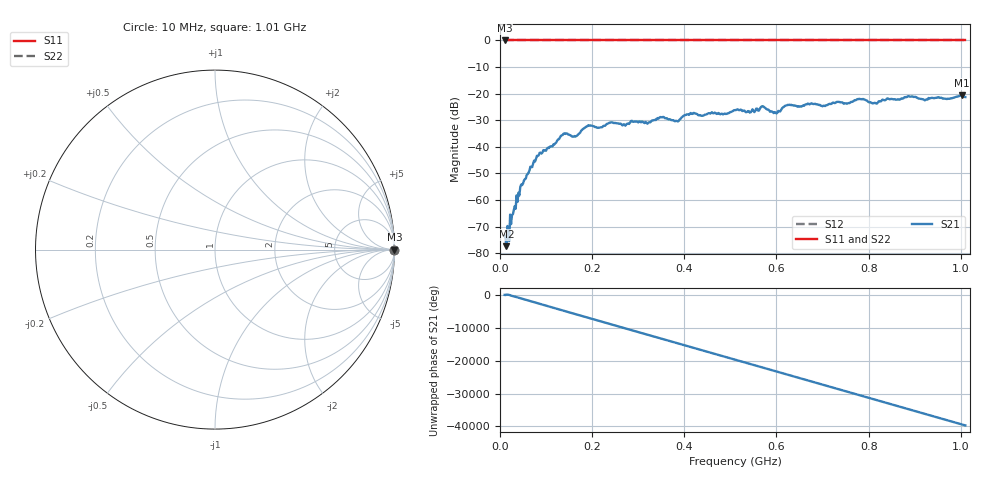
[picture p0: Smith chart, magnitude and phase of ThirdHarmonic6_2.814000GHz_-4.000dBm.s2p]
! 8/17/2025 7:24:21 AM
! C:\ANRITSUVNA\TEMP\TEMP.S2P
! CHANNEL.1
! TR.MEASUREMENT
! RAW.DATA
! RF.CORRECTION.OFF
! AVERAGING.OFF
! IF.BANDWIDTH: 5KHZ
! SWEEPTYPE:  FREQ.SWEEP(Linear)
! Reference Plane Port Info
! PORT:  PORT1  PORT2
! DISTANCE:  0  m  0  m
! TIME:  0  s  0  s
! PHASE.OFFSET:  0  deg.  0  deg.
! LOSS:  0  dB  0  dB
! REF.LOSS:  0  dB  0  dB
! REF.FREQ:  0  Hz  0  Hz
! Power Info
! POWER:  -20  dBm  -20  dBm
! EFF.POWER:  -20  dBm  -20  dBm
! SOURCE.ATTEN:  0  dB  0  dB
! TEST.ATTEN:  0  dB  0  dB
# GHZ S RI R 50.0
! FREQ.GHZ  S11RE  S11IM  S21RE  S21IM  S12RE  S12IM  S22RE  S22IM
!; PortSelection: Port_12
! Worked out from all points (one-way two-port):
!   501 points, 10 MHz to 1.01 GHz, reference 50 ohm
!   highest |S21| = -20.68 dB at 1.002 GHz (marker M1); lowest = -77.4 dB at 14 MHz (marker M2)
!   lowest |S11| = 0.0 dB at 10 MHz (marker M3)
!   |S11| at or under -10 dB: nowhere
!   |S22| runs from 0.0 to 0.0 dB; largest |S21 - S12| = 1.1
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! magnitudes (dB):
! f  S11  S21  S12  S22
! 10 MHz  0.0  -73.4  0.0  0.0
! 14 MHz  0.0  -77.4  0.0  0.0
! 16 MHz  0.0  -69.8  0.0  0.0
! 26 MHz  0.0  -65.7  0.0  0.0
! 48 MHz  0.0  -54.4  0.0  0.0
! 84 MHz  0.0  -43.2  0.0  0.0
! 136 MHz  0.0  -35.6  0.0  0.0
! 162 MHz  0.0  -36.0  0.0  0.0
! 178 MHz  0.0  -33.7  0.0  0.0
! 344 MHz  0.0  -29.4  0.0  0.0
! 384 MHz  0.0  -30.3  0.0  0.0
! 416 MHz  0.0  -27.6  0.0  0.0
! 510 MHz  0.0  -26.2  0.0  0.0
! 570 MHz  0.0  -24.7  0.0  0.0
! 598 MHz  0.0  -27.1  0.0  0.0
! 624 MHz  0.0  -24.3  0.0  0.0
! 678 MHz  0.0  -23.8  0.0  0.0
! 780 MHz  0.0  -22.0  0.0  0.0
! 814 MHz  0.0  -23.5  0.0  0.0
! 844 MHz  0.0  -22.0  0.0  0.0
! 1.002 GHz  0.0  -20.7  0.0  0.0
! 1.01 GHz  0.0  -21.3  0.0  0.0
